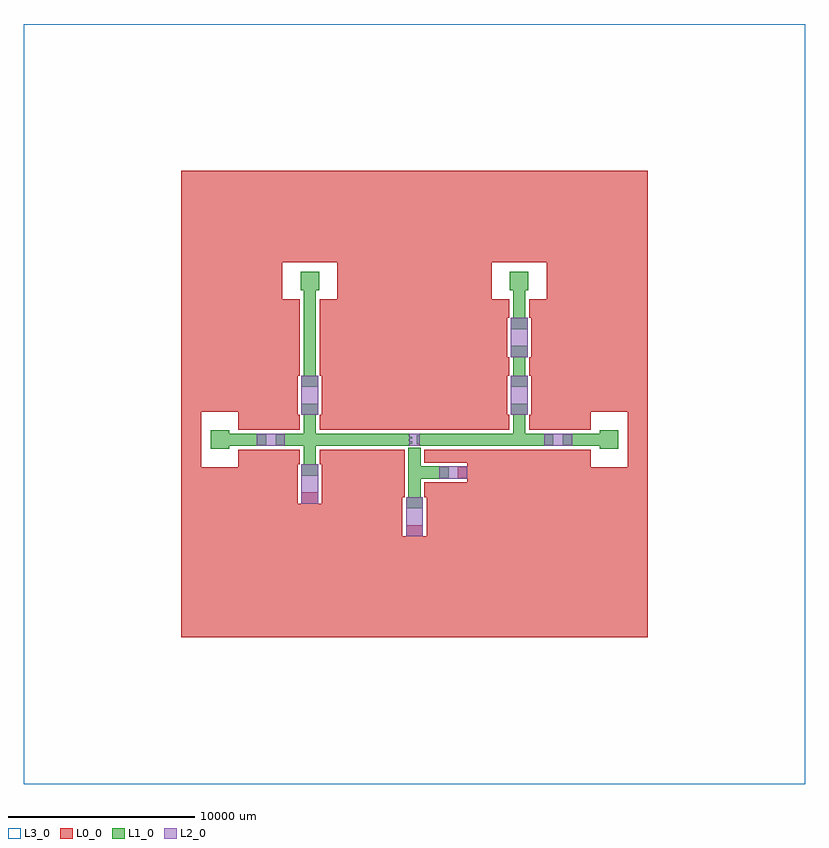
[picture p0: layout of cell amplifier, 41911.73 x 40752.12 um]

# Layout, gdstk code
import gdstk
lib = gdstk.Library(unit=1e-6, precision=1e-09)
def R(c, l, rs):  # rectangles x0, y0, x1, y1
    for r in rs: c.add(gdstk.rectangle(r[:2], r[2:], *l))
def P(c, l, *ps):  # polygons
    for p in ps: c.add(gdstk.Polygon(p, *l))
L0_0 = (0, 0)
L1_0 = (1, 0)
L2_0 = (2, 0)
L3_0 = (3, 0)

amplifier = lib.new_cell('amplifier')
P(amplifier, L0_0, [(55899.427,-3254.5),(55899.427,16843),(72529.929,16843),(72529.929,14863),(73484.929,14863),(73484.929,13863),(73366.817,13863),(73366.817,11763),(73484.929,11763),(73484.929,10763),(73366.817,10763),(73366.817,8663),(73484.929,8663),(73484.929,7863),(63313.926,7863),(63313.926,8663),(63435.814,8663),(63435.814,10763),(63313.926,10763),(63313.926,14863),(64268.927,14863),(64268.927,16843),(61298.926,16843),(61298.926,14863),(62253.926,14863),(62253.926,10763),(62135.814,10763),(62135.814,8663),(62253.926,8663),(62253.926,7863),(58953.925,7863),(58953.925,8818),(56973.925,8818),(56973.925,5848),(58953.925,5848),(58953.925,6803),(62253.926,6803),(62253.926,6003),(62135.814,6003),(62135.814,3903),(62335.814,3903),(62335.814,4503),(63235.814,4503),(63235.814,3903),(63435.814,3903),(63435.814,6003),(63313.926,6003),(63313.926,6803),(67869.428,6803),(67869.428,4243),(67751.316,4243),(67751.316,2143),(67951.316,2143),(67951.316,2743),(68851.316,2743),(68851.316,2143),(69051.316,2143),(69051.316,4243),(68929.428,4243),(68929.428,5043),(71229.429,5043),(71229.429,5273),(70729.429,5273),(70729.429,5873),(71229.429,5873),(71229.429,6103),(68929.428,6103),(68929.428,6803),(77844.93,6803),(77844.93,5848),(79824.93,5848),(79824.93,8818),(77844.93,8818),(77844.93,7863),(74544.929,7863),(74544.929,8663),(74666.817,8663),(74666.817,10763),(74544.929,10763),(74544.929,11763),(74666.817,11763),(74666.817,13863),(74544.929,13863),(74544.929,14863),(75499.93,14863),(75499.93,16843),(55899.427,16843),(55899.427,21745.5),(80899.428,21745.5),(80899.428,-3254.5)])
P(amplifier, L1_0, [(73566.817,13263),(73566.817,13863),(73684.929,13863),(73684.929,15358),(73519.928,15358),(73519.928,16348),(74509.929,16348),(74509.929,15358),(74344.929,15358),(74344.929,13863),(74466.817,13863),(74466.817,13263)],
  [(62335.814,10163),(62335.814,10763),(62453.926,10763),(62453.926,15358),(62288.925,15358),(62288.925,16348),(63278.926,16348),(63278.926,15358),(63113.926,15358),(63113.926,10763),(63235.814,10763),(63235.814,10163)],
  [(73566.817,10163),(73566.817,10763),(73684.929,10763),(73684.929,11763),(73566.817,11763),(73566.817,12363),(74466.817,12363),(74466.817,11763),(74344.929,11763),(74344.929,10763),(74466.817,10763),(74466.817,10163)],
  [(68684.929,7003),(68684.929,7088),(68530.929,7088),(68530.929,7578.001),(68684.929,7578.001),(68684.929,7663),(73684.929,7663),(73684.929,8663),(73566.817,8663),(73566.817,9263),(74466.817,9263),(74466.817,8663),(74344.929,8663),(74344.929,7663),(75344.929,7663),(75344.929,7633),(75844.929,7633),(75844.929,7033),(75344.929,7033),(75344.929,7003)],
  [(62335.814,5403),(62335.814,6003),(62453.926,6003),(62453.926,7003),(61453.926,7003),(61453.926,7033),(60953.926,7033),(60953.926,7633),(61453.926,7633),(61453.926,7663),(62453.926,7663),(62453.926,8663),(62335.814,8663),(62335.814,9263),(63235.814,9263),(63235.814,8663),(63113.926,8663),(63113.926,7663),(68113.926,7663),(68113.926,7499.5),(68267.926,7499.5),(68267.926,7384.5),(68113.926,7384.5),(68113.926,7239.5),(68267.926,7239.5),(68267.926,7124.5),(68113.926,7124.5),(68113.926,7003),(63113.926,7003),(63113.926,6003),(63235.814,6003),(63235.814,5403)],
  [(78339.93,6838),(78339.93,7003),(76844.93,7003),(76844.93,7033),(76344.93,7033),(76344.93,7633),(76844.93,7633),(76844.93,7663),(78339.93,7663),(78339.93,7828),(79329.93,7828),(79329.93,6838)],
  [(57468.925,6838),(57468.925,7828),(58458.925,7828),(58458.925,7663),(59953.925,7663),(59953.925,7633),(60453.925,7633),(60453.925,7033),(59953.925,7033),(59953.925,7003),(58458.925,7003),(58458.925,6838)],
  [(67951.316,3643),(67951.316,4243),(68069.428,4243),(68069.428,6903),(68729.428,6903),(68729.428,5903),(69729.428,5903),(69729.428,5873),(70229.428,5873),(70229.428,5273),(69729.428,5273),(69729.428,5243),(68729.428,5243),(68729.428,4243),(68851.316,4243),(68851.316,3643)])
R(amplifier, L2_0, [(67951.316,2143,68851.316,4243), (62335.814,3903,63235.814,6003), (69729.428,5243,71229.429,5903), (59953.925,7003,61453.926,7663), (68113.926,7003,68684.929,7663), (75344.929,7003,76844.93,7663), (62335.814,8663,63235.814,10763), (73566.817,8663,74466.817,10763), (73566.817,11762.999,74466.817,13863)])
R(amplifier, L3_0, [(47443.563,-11130.558,89355.292,29621.558)])

lib.write_gds('amplifier.gds')
